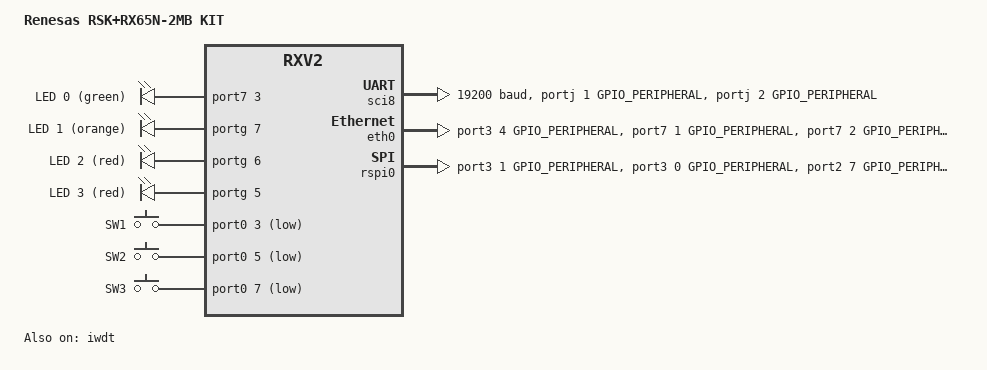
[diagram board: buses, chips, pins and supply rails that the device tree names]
/* Copyright (c) 2021 KT-Elektronik, Klaucke und Partner GmbH */
/* SPDX-License-Identifier: Apache-2.0 */


/dts-v1/;

#include <R5F565NE.dtsi>

/ {
	model = "Renesas RSK+RX65N-2MB KIT";
	compatible = "renesas,rsk_rx65n_2mb","renesas,rxv2";

	chosen { /* parameters chosen by system firmware at boot time */
		zephyr,sram = &sram1;
		zephyr,console = &sci8;
		zephyr,flash-controller = &data_flash;
		/* zephyr,code-partition = &slot0_partition; */
		zephyr,shell-uart = &sci8;
		/* TODO: check if: required
		 * zephyr,uart-pipe = &uart0;
		 * bootargs = <boot args here,
		 * e.g. "root=/dev/sda2" or
		 * "consoleblank=0 root=/dev/mmcblk0p2 rw rootwait earlyprintk">;
		 * stdout-path = "serial0:115200n8";
		 */
		rx65n,tick-timer = &cmtw0;
		rx65n,cycle-timer = &cmtw1;
	 };

	leds {
		compatible = "gpio-leds";
		green_led: led_0 {
			gpios = <&port7 3 GPIO_ACTIVE_HIGH>;
			label = "LED 0 (green)";
		};
		orange_led: led_1 {
			gpios = <&portg 7 GPIO_ACTIVE_HIGH>;
			label = "LED 1 (orange)";
		};
		red_led_1: led_2 {
			gpios = <&portg 6 GPIO_ACTIVE_HIGH>;
			label = "LED 2 (red)";
		};
		red_led_2: led_3 {
			gpios = <&portg 5 GPIO_ACTIVE_HIGH>;
			label = "LED 3 (red)";
		};

	};

	gpio_keys {
		compatible = "gpio-keys";
		user_switch1: sw1 {
			gpios = <&port0 3 GPIO_ACTIVE_LOW>;
			label = "SW1";
		};
		user_switch2: sw2 {
			gpios = <&port0 5 GPIO_ACTIVE_LOW>;
			label = "SW2";
		};
		user_switch3: sw3 {
			gpios = <&port0 7 GPIO_ACTIVE_LOW>;
			label = "SW3";
		};
	};

	aliases {
		led0 = &green_led;
		led1 = &orange_led;
		led2 = &red_led_1;
		led3 = &red_led_2;
		sw0 = &user_switch1;
		sw1 = &user_switch2;
		sw2 = &user_switch3;
	};

};

&sci8 {
	status = "okay";
	current-speed = <19200>;
	pinmuxs = <&pinmuxj 1 10>, <&pinmuxj 2 10>;
	gpios = <&portj 1 GPIO_PERIPHERAL>, <&portj 2 GPIO_PERIPHERAL>;
};

&port0 {
	status = "okay";
};

&pinmux0 {
	status = "okay";
};

&port2 {
	status = "okay";
};

&pinmux2 {
	status = "okay";
};

&port3 {
	status = "okay";
};

&pinmux3 {
	status = "okay";
};

&porte {
	status = "okay";
};

&port7 {
	status = "okay";
};

&pinmux7 {
	status = "okay";
};

&port8 {
	status = "okay";
};

&pinmux8 {
	status = "okay";
};

&portc {
	status = "okay";
};

&pinmuxc {
	status = "okay";
};

&portg {
	status = "okay";
};

&portj {
	status = "okay";
};

&pinmuxj {
	status = "okay";
};

&eth0 {
	status = "okay";
	local-mac-address = [74 90 50 00 79 03];
	interface_mode = <0>;
	phy_address = <30>;
	linksta;
	pinmuxs = <&pinmux3 4 0x11>,
		<&pinmux7 1 0x11>,
		<&pinmux7 2 0x11>,
		<&pinmux7 4 0x11>,
		<&pinmux7 5 0x11>,
		<&pinmux7 6 0x11>,
		<&pinmux7 7 0x11>,
		<&pinmux8 0 0x11>,
		<&pinmux8 1 0x11>,
		<&pinmux8 2 0x11>,
		<&pinmux8 3 0x11>,
		<&pinmuxc 0 0x11>,
		<&pinmuxc 1 0x11>,
		<&pinmuxc 2 0x11>,
		<&pinmuxc 3 0x11>,
		<&pinmuxc 4 0x11>,
		<&pinmuxc 5 0x11>,
		<&pinmuxc 6 0x11>,
		<&pinmuxc 7 0x11>;
	gpios = <&port3 4 GPIO_PERIPHERAL>,
		<&port7 1 GPIO_PERIPHERAL>,
		<&port7 2 GPIO_PERIPHERAL>,
		<&port7 4 GPIO_PERIPHERAL>,
		<&port7 5 GPIO_PERIPHERAL>,
		<&port7 6 GPIO_PERIPHERAL>,
		<&port7 7 GPIO_PERIPHERAL>,
		<&port8 0 GPIO_PERIPHERAL>,
		<&port8 1 GPIO_PERIPHERAL>,
		<&port8 2 GPIO_PERIPHERAL>,
		<&port8 3 GPIO_PERIPHERAL>,
		<&portc 0 GPIO_PERIPHERAL>,
		<&portc 1 GPIO_PERIPHERAL>,
		<&portc 2 GPIO_PERIPHERAL>,
		<&portc 3 GPIO_PERIPHERAL>,
		<&portc 4 GPIO_PERIPHERAL>,
		<&portc 5 GPIO_PERIPHERAL>,
		<&portc 6 GPIO_PERIPHERAL>,
		<&portc 7 GPIO_PERIPHERAL>;
};

&system_clock {
	main_clock_frequency = <24000000>;
};

&rspi0 {
	status = "okay";
	pinmuxs = <&pinmux3 1 0x0D>,
		<&pinmux3 0 0x0D>,
		<&pinmux2 7 0x0D>,
		<&pinmux2 6 0x0D>;
	gpios = <&port3 1 GPIO_PERIPHERAL>,
		<&port3 0 GPIO_PERIPHERAL>,
		<&port2 7 GPIO_PERIPHERAL>,
		<&port2 6 GPIO_PERIPHERAL>;
};

&iwdt {
	status = "okay";
};
